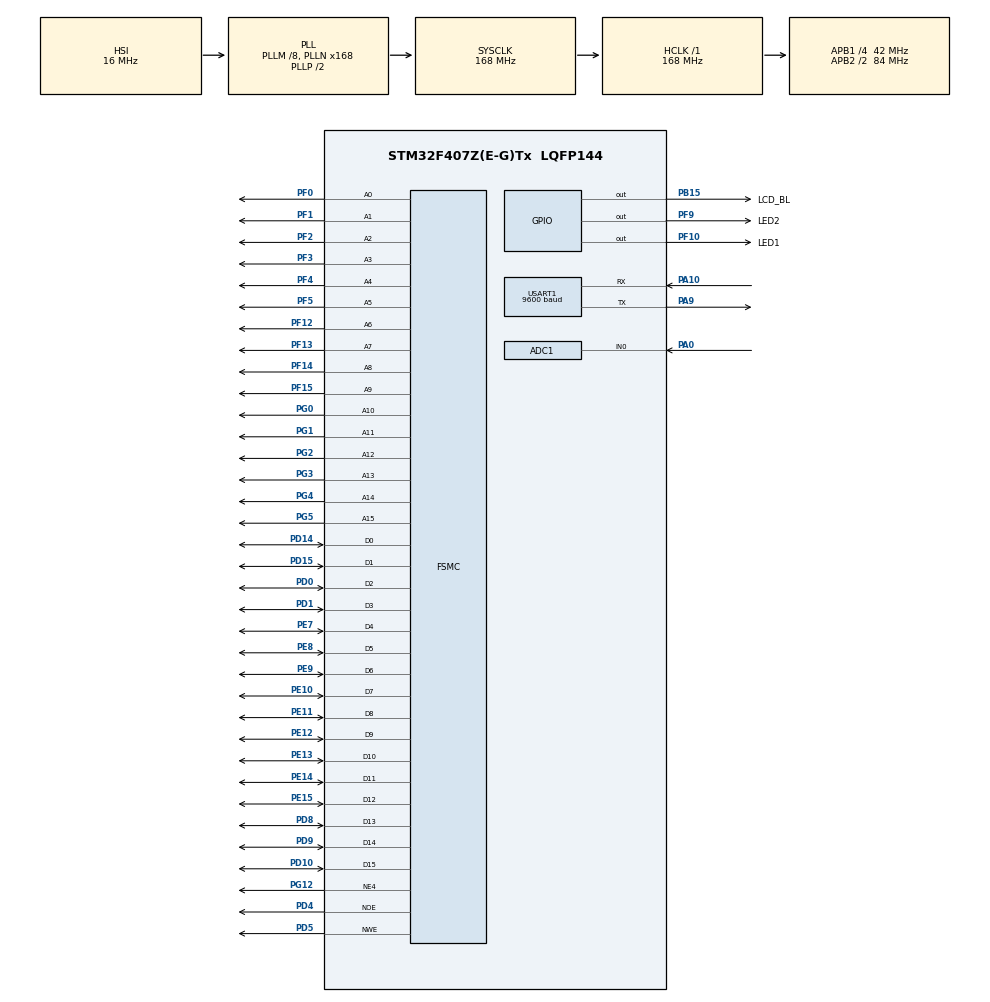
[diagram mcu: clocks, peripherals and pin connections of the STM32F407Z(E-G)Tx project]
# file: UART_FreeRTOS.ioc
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ADC1.Channel-0\#ChannelRegularConversion=ADC_CHANNEL_0
ADC1.ClockPrescaler=ADC_CLOCK_SYNC_PCLK_DIV4
ADC1.ContinuousConvMode=ENABLE
ADC1.DMAContinuousRequests=ENABLE
ADC1.EnableAnalogWatchDog=false
ADC1.InjNumberOfConversion=0
ADC1.NbrOfConversion=1
ADC1.NbrOfConversionFlag=1
ADC1.Rank-0\#ChannelRegularConversion=1
ADC1.SamplingTime-0\#ChannelRegularConversion=ADC_SAMPLETIME_3CYCLES
ADC1.master=1
Dma.ADC1.2.Direction=DMA_PERIPH_TO_MEMORY
Dma.ADC1.2.FIFOMode=DMA_FIFOMODE_DISABLE
Dma.ADC1.2.Instance=DMA2_Stream0
Dma.ADC1.2.MemDataAlignment=DMA_MDATAALIGN_HALFWORD
Dma.ADC1.2.MemInc=DMA_MINC_ENABLE
Dma.ADC1.2.Mode=DMA_CIRCULAR
Dma.ADC1.2.PeriphDataAlignment=DMA_PDATAALIGN_HALFWORD
Dma.ADC1.2.PeriphInc=DMA_PINC_DISABLE
Dma.ADC1.2.Priority=DMA_PRIORITY_LOW
Dma.Request0=USART1_RX
Dma.Request1=USART1_TX
Dma.Request2=ADC1
Dma.USART1_RX.0.Direction=DMA_PERIPH_TO_MEMORY
Dma.USART1_RX.0.FIFOMode=DMA_FIFOMODE_DISABLE
Dma.USART1_RX.0.Instance=DMA2_Stream2
Dma.USART1_RX.0.MemDataAlignment=DMA_MDATAALIGN_BYTE
Dma.USART1_RX.0.MemInc=DMA_MINC_ENABLE
Dma.USART1_RX.0.Mode=DMA_CIRCULAR
Dma.USART1_RX.0.PeriphDataAlignment=DMA_PDATAALIGN_BYTE
Dma.USART1_RX.0.PeriphInc=DMA_PINC_DISABLE
Dma.USART1_RX.0.Priority=DMA_PRIORITY_LOW
Dma.USART1_TX.1.Direction=DMA_MEMORY_TO_PERIPH
Dma.USART1_TX.1.FIFOMode=DMA_FIFOMODE_DISABLE
Dma.USART1_TX.1.Instance=DMA2_Stream7
Dma.USART1_TX.1.MemDataAlignment=DMA_MDATAALIGN_BYTE
Dma.USART1_TX.1.MemInc=DMA_MINC_ENABLE
Dma.USART1_TX.1.Mode=DMA_NORMAL
Dma.USART1_TX.1.PeriphDataAlignment=DMA_PDATAALIGN_BYTE
Dma.USART1_TX.1.PeriphInc=DMA_PINC_DISABLE
Dma.USART1_TX.1.Priority=DMA_PRIORITY_LOW
FREERTOS.Tasks01=defaultTask,24,128,StartDefaultTask,Default,NULL,Dynamic,NULL,NULL
FSMC.ExtendedMode4=FSMC_EXTENDED_MODE_ENABLE
FSMC.WriteOperation4=FSMC_WRITE_OPERATION_ENABLE
Mcu.Family=STM32F4
Mcu.Name=STM32F407Z(E-G)Tx
Mcu.Package=LQFP144
NVIC.DMA2_Stream0_IRQn=true\:5\:0\:false\:false\:true\:true\:false\:true\:true
NVIC.DMA2_Stream2_IRQn=true\:5\:0\:false\:false\:true\:true\:false\:true\:true
NVIC.DMA2_Stream7_IRQn=true\:5\:0\:false\:false\:true\:true\:false\:true\:true
NVIC.PriorityGroup=NVIC_PRIORITYGROUP_4
NVIC.TIM1_UP_TIM10_IRQn=true\:15\:0\:false\:false\:true\:false\:false\:true\:true
NVIC.TimeBase=TIM1_UP_TIM10_IRQn
NVIC.TimeBaseIP=TIM1
NVIC.USART1_IRQn=true\:5\:0\:false\:false\:true\:true\:true\:true\:true
PA0-WKUP.Signal=ADCx_IN0
PA10.Mode=Asynchronous
PA10.Signal=USART1_RX
PA13.Mode=Serial_Wire
PA13.Signal=SYS_JTMS-SWDIO
PA14.Mode=Serial_Wire
PA14.Signal=SYS_JTCK-SWCLK
PA9.Mode=Asynchronous
PA9.Signal=USART1_TX
PB15.GPIO_Label=LCD_BL
PB15.PinState=GPIO_PIN_SET
PB15.Signal=GPIO_Output
PC14-OSC32_IN.Mode=LSE-External-Oscillator
PC14-OSC32_IN.Signal=RCC_OSC32_IN
PC15-OSC32_OUT.Mode=LSE-External-Oscillator
PC15-OSC32_OUT.Signal=RCC_OSC32_OUT
PD0.Signal=FSMC_D2_DA2
PD1.Signal=FSMC_D3_DA3
PD10.Signal=FSMC_D15_DA15
PD14.Signal=FSMC_D0_DA0
PD15.Signal=FSMC_D1_DA1
PD4.Signal=FSMC_NOE
PD5.Signal=FSMC_NWE
PD8.Signal=FSMC_D13_DA13
PD9.Signal=FSMC_D14_DA14
PE10.Signal=FSMC_D7_DA7
PE11.Signal=FSMC_D8_DA8
PE12.Signal=FSMC_D9_DA9
PE13.Signal=FSMC_D10_DA10
PE14.Signal=FSMC_D11_DA11
PE15.Signal=FSMC_D12_DA12
PE7.Signal=FSMC_D4_DA4
PE8.Signal=FSMC_D5_DA5
PE9.Signal=FSMC_D6_DA6
PF0.Signal=FSMC_A0
PF1.Signal=FSMC_A1
PF10.GPIO_Label=LED1
PF10.Signal=GPIO_Output
PF12.Signal=FSMC_A6
PF13.Signal=FSMC_A7
PF14.Signal=FSMC_A8
PF15.Signal=FSMC_A9
PF2.Signal=FSMC_A2
PF3.Signal=FSMC_A3
PF4.Signal=FSMC_A4
PF5.Signal=FSMC_A5
PF9.GPIO_Label=LED2
PF9.Signal=GPIO_Output
PG0.Signal=FSMC_A10
PG1.Signal=FSMC_A11
PG12.Mode=NorPsramChipSelect4_4
PG12.Signal=FSMC_NE4
PG2.Signal=FSMC_A12
PG3.Signal=FSMC_A13
PG4.Signal=FSMC_A14
PG5.Signal=FSMC_A15
PH0-OSC_IN.Mode=HSE-External-Oscillator
PH0-OSC_IN.Signal=RCC_OSC_IN
PH1-OSC_OUT.Mode=HSE-External-Oscillator
PH1-OSC_OUT.Signal=RCC_OSC_OUT
ProjectManager.HeapSize=0x200
ProjectManager.StackSize=0x400
ProjectManager.TargetToolchain=MDK-ARM V5.32
RCC.48MHZClocksFreq_Value=84000000
RCC.AHBFreq_Value=168000000
RCC.APB1CLKDivider=RCC_HCLK_DIV4
RCC.APB1Freq_Value=42000000
RCC.APB1TimFreq_Value=84000000
RCC.APB2CLKDivider=RCC_HCLK_DIV2
RCC.APB2Freq_Value=84000000
RCC.APB2TimFreq_Value=168000000
RCC.CortexFreq_Value=168000000
RCC.HCLKFreq_Value=168000000
RCC.HSE_VALUE=25000000
RCC.HSI_VALUE=16000000
RCC.PLLM=8
RCC.PLLN=168
RCC.SYSCLKFreq_VALUE=168000000
RCC.SYSCLKSource=RCC_SYSCLKSOURCE_PLLCLK
RCC.VCOOutputFreq_Value=336000000
SH.ADCx_IN0.0=ADC1_IN0,IN0
SH.FSMC_A0.0=FSMC_A0,16b-a4
SH.FSMC_A1.0=FSMC_A1,16b-a4
SH.FSMC_A10.0=FSMC_A10,16b-a4
SH.FSMC_A11.0=FSMC_A11,16b-a4
SH.FSMC_A12.0=FSMC_A12,16b-a4
SH.FSMC_A13.0=FSMC_A13,16b-a4
SH.FSMC_A14.0=FSMC_A14,16b-a4
SH.FSMC_A15.0=FSMC_A15,16b-a4
SH.FSMC_A2.0=FSMC_A2,16b-a4
SH.FSMC_A3.0=FSMC_A3,16b-a4
SH.FSMC_A4.0=FSMC_A4,16b-a4
SH.FSMC_A5.0=FSMC_A5,16b-a4
SH.FSMC_A6.0=FSMC_A6,16b-a4
SH.FSMC_A7.0=FSMC_A7,16b-a4
SH.FSMC_A8.0=FSMC_A8,16b-a4
SH.FSMC_A9.0=FSMC_A9,16b-a4
SH.FSMC_D0_DA0.0=FSMC_D0,16b-d4
SH.FSMC_D10_DA10.0=FSMC_D10,16b-d4
SH.FSMC_D11_DA11.0=FSMC_D11,16b-d4
SH.FSMC_D12_DA12.0=FSMC_D12,16b-d4
SH.FSMC_D13_DA13.0=FSMC_D13,16b-d4
SH.FSMC_D14_DA14.0=FSMC_D14,16b-d4
SH.FSMC_D15_DA15.0=FSMC_D15,16b-d4
SH.FSMC_D1_DA1.0=FSMC_D1,16b-d4
SH.FSMC_D2_DA2.0=FSMC_D2,16b-d4
SH.FSMC_D3_DA3.0=FSMC_D3,16b-d4
SH.FSMC_D4_DA4.0=FSMC_D4,16b-d4
SH.FSMC_D5_DA5.0=FSMC_D5,16b-d4
SH.FSMC_D6_DA6.0=FSMC_D6,16b-d4
SH.FSMC_D7_DA7.0=FSMC_D7,16b-d4
SH.FSMC_D8_DA8.0=FSMC_D8,16b-d4
SH.FSMC_D9_DA9.0=FSMC_D9,16b-d4
SH.FSMC_NOE.0=FSMC_NOE,Sram4
SH.FSMC_NWE.0=FSMC_NWE,Sram4
USART1.BaudRate=9600
USART1.VirtualMode=VM_ASYNC
VP_FREERTOS_VS_CMSIS_V2.Mode=CMSIS_V2
VP_SYS_VS_tim1.Mode=TIM1
board=custom

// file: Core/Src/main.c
/* USER CODE BEGIN Header */
/**
  ******************************************************************************
  * @file           : main.c
  * @brief          : Main program body
  ******************************************************************************
  * @attention
  *
  * Copyright (c) 2026 STMicroelectronics.
  * All rights reserved.
  *
  * This software is licensed under terms that can be found in the LICENSE file
  * in the root directory of this software component.
  * If no LICENSE file comes with this software, it is provided AS-IS.
  *
  ******************************************************************************
  */
/* USER CODE END Header */
#include "main.h"
#include "cmsis_os.h"
#include "adc.h"
#include "dma.h"
#include "usart.h"
#include "gpio.h"
#include "fsmc.h"

void SystemClock_Config(void);
void MX_FREERTOS_Init(void);

int main(void)
{

  /* MCU Configuration--------------------------------------------------------*/

  /* Reset of all peripherals, Initializes the Flash interface and the Systick. */
  HAL_Init();

  /* Configure the system clock */
  SystemClock_Config();

  /* Initialize all configured peripherals */
  MX_GPIO_Init();
  MX_DMA_Init();
  MX_USART1_UART_Init();
  MX_FSMC_Init();
  MX_ADC1_Init();

  /* Init scheduler */
  osKernelInitialize();  /* Call init function for freertos objects (in cmsis_os2.c) */
  MX_FREERTOS_Init();

  /* Start scheduler */
  osKernelStart();

  /* We should never get here as control is now taken by the scheduler */

  /* Infinite loop */
  while (1)
  {

  }
}

void SystemClock_Config(void)
{
  RCC_OscInitTypeDef RCC_OscInitStruct = {0};
  RCC_ClkInitTypeDef RCC_ClkInitStruct = {0};

  /** Configure the main internal regulator output voltage
  */
  __HAL_RCC_PWR_CLK_ENABLE();
  __HAL_PWR_VOLTAGESCALING_CONFIG(PWR_REGULATOR_VOLTAGE_SCALE1);

  /** Initializes the RCC Oscillators according to the specified parameters
  * in the RCC_OscInitTypeDef structure.
  */
  RCC_OscInitStruct.OscillatorType = RCC_OSCILLATORTYPE_HSI;
  RCC_OscInitStruct.HSIState = RCC_HSI_ON;
  RCC_OscInitStruct.HSICalibrationValue = RCC_HSICALIBRATION_DEFAULT;
  RCC_OscInitStruct.PLL.PLLState = RCC_PLL_ON;
  RCC_OscInitStruct.PLL.PLLSource = RCC_PLLSOURCE_HSI;
  RCC_OscInitStruct.PLL.PLLM = 8;
  RCC_OscInitStruct.PLL.PLLN = 168;
  RCC_OscInitStruct.PLL.PLLP = RCC_PLLP_DIV2;
  RCC_OscInitStruct.PLL.PLLQ = 4;
  if (HAL_RCC_OscConfig(&RCC_OscInitStruct) != HAL_OK)
  {
    Error_Handler();
  }

  /** Initializes the CPU, AHB and APB buses clocks
  */
  RCC_ClkInitStruct.ClockType = RCC_CLOCKTYPE_HCLK|RCC_CLOCKTYPE_SYSCLK
                              |RCC_CLOCKTYPE_PCLK1|RCC_CLOCKTYPE_PCLK2;
  RCC_ClkInitStruct.SYSCLKSource = RCC_SYSCLKSOURCE_PLLCLK;
  RCC_ClkInitStruct.AHBCLKDivider = RCC_SYSCLK_DIV1;
  RCC_ClkInitStruct.APB1CLKDivider = RCC_HCLK_DIV4;
  RCC_ClkInitStruct.APB2CLKDivider = RCC_HCLK_DIV2;

  if (HAL_RCC_ClockConfig(&RCC_ClkInitStruct, FLASH_LATENCY_5) != HAL_OK)
  {
    Error_Handler();
  }
}

void HAL_TIM_PeriodElapsedCallback(TIM_HandleTypeDef *htim)
{
  if (htim->Instance == TIM1)
  {
    HAL_IncTick();
  }
}

void Error_Handler(void)
{
  __disable_irq();
  while (1)
  {
  }
}

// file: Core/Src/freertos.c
/* USER CODE BEGIN Header */
/**
  ******************************************************************************
  * File Name          : freertos.c
  * Description        : Code for freertos applications
  ******************************************************************************
  * @attention
  *
  * Copyright (c) 2026 STMicroelectronics.
  * All rights reserved.
  *
  * This software is licensed under terms that can be found in the LICENSE file
  * in the root directory of this software component.
  * If no LICENSE file comes with this software, it is provided AS-IS.
  *
  ******************************************************************************
  */
/* USER CODE END Header */

#include "FreeRTOS.h"
#include "task.h"
#include "main.h"
#include "cmsis_os.h"

/* USER CODE BEGIN Includes */
#include "uart_device.h"
#include "lcd.h"
#include "DMA_study.h"
#include "perf_test1.h"
#include "perf_test2.h"
#include "perf_test3.h"
/* USER CODE END Includes */

/* USER CODE BEGIN PTD */
static UART_Device *dev=NULL;

/* USER CODE END PTD */

/* Definitions for defaultTask */
osThreadId_t defaultTaskHandle;
const osThreadAttr_t defaultTask_attributes = {
  .name = "defaultTask",
  .stack_size = 128 * 4,
  .priority = (osPriority_t) osPriorityNormal,
};

/* USER CODE BEGIN FunctionPrototypes */
BaseType_t test_creat_Ret;
TaskHandle_t test_Handle = NULL;
/* USER CODE END FunctionPrototypes */

void StartDefaultTask(void *argument);

void MX_FREERTOS_Init(void); /* (MISRA C 2004 rule 8.1) */

void MX_FREERTOS_Init(void) {
  /* USER CODE BEGIN Init */
	test1();
	//test2();
	//test3();
	//test_init();
	//test_Double_Buffer_init();
	//test_Double_Buffer_soft_init();
  /* USER CODE END Init */

  /* Create the thread(s) */
  /* creation of defaultTask */
  defaultTaskHandle = osThreadNew(StartDefaultTask, NULL, &defaultTask_attributes);

  /* USER CODE BEGIN RTOS_THREADS */

  //test_creat_Ret = xTaskCreate(test_normal,"test_normal",256,NULL,osPriorityNormal,&test_Handle);
  //test_creat_Ret = xTaskCreate(test_Circular,"test_Circular",256,NULL,osPriorityNormal,&test_Handle);
  //test_creat_Ret = xTaskCreate(test_Double_Buffer,"test_Double_Buffer",256,NULL,osPriorityNormal,&test_Handle);
  //test_creat_Ret = xTaskCreate(test_Double_Buffer_soft,"test_Double_Buffer_soft",256,NULL,osPriorityNormal,&test_Handle);

  /* add threads, ... */
  /* USER CODE END RTOS_THREADS */

}

void StartDefaultTask(void *argument)
{
  /* USER CODE BEGIN StartDefaultTask */
    char recv_byte;
    char frame_buf[128];
    int frame_len = 0;
    const int FRAME_MAX_LEN = sizeof(frame_buf) - 1;

  /* Infinite loop */
  for(;;)
  {

	//UART_Send(dev,"htq\r\n",5 , 100);
	vTaskDelay(pdMS_TO_TICKS(100));
  }
  /* USER CODE END StartDefaultTask */
}
